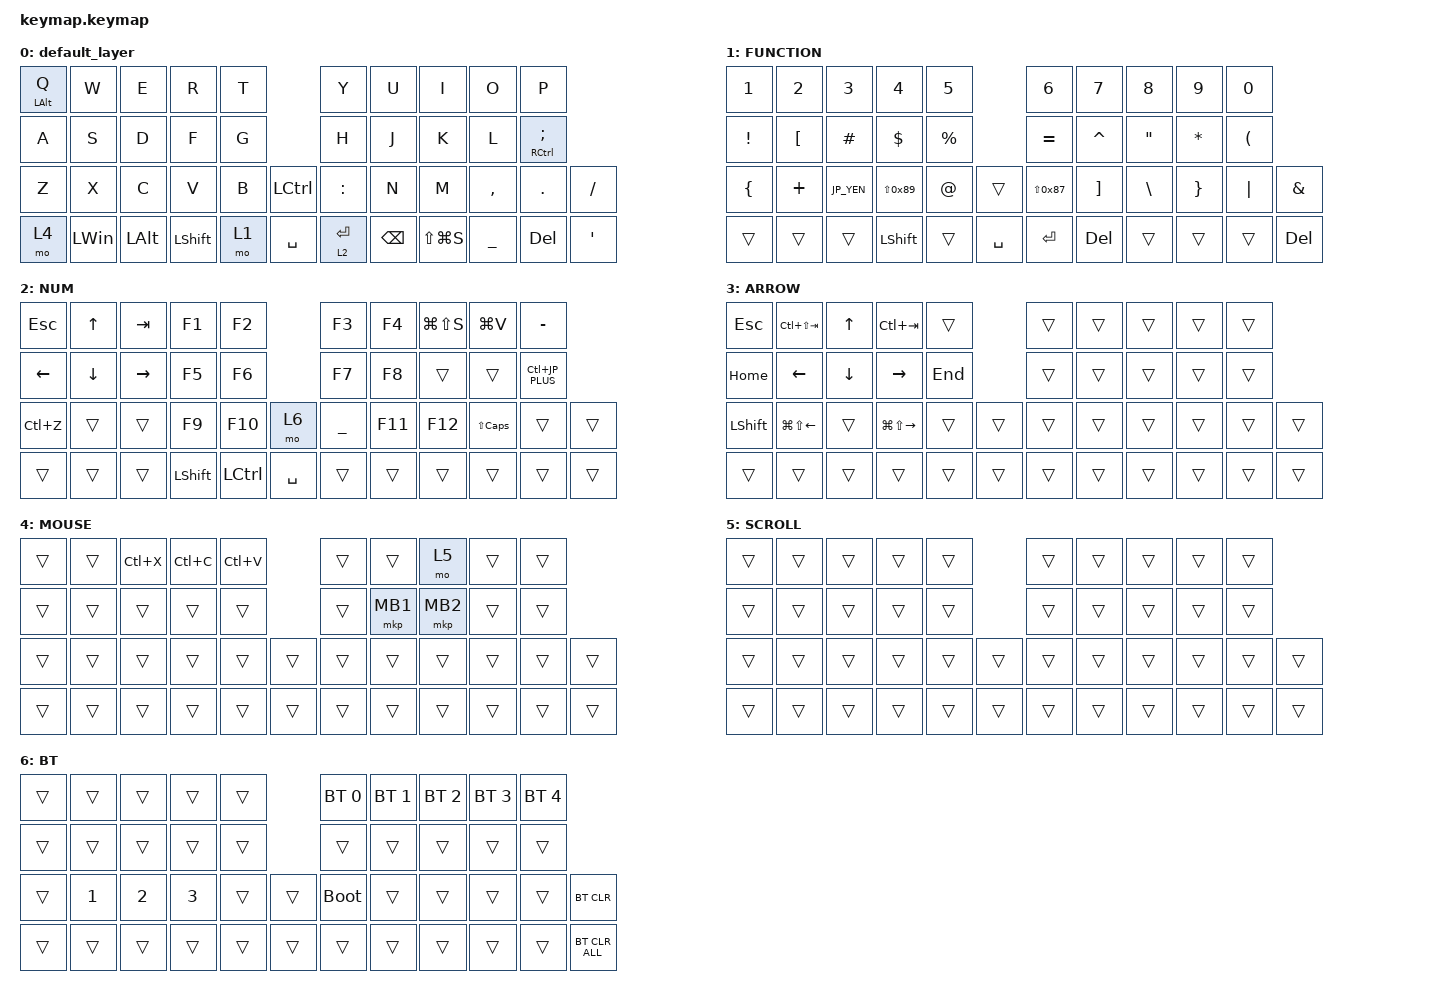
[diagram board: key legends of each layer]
#include <behaviors.dtsi>
#include <dt-bindings/zmk/bt.h>
#include <dt-bindings/zmk/keys.h>
#include <dt-bindings/zmk/pointing.h>

// 日本語キーボード用変換定義
#define JP_DQUOTE       AT
#define JP_AMPERSAND    CARET
#define JP_QUOTE        AMPERSAND
#define JP_EQUAL        UNDER
#define JP_CARET        EQUAL
#define JP_YEN          0x89
#define JP_PLUS         COLON
#define JP_TILDE        PLUS
#define JP_PIPE         LS(0x89)
#define JP_AT           LEFT_BRACKET
#define JP_COLON        SINGLE_QUOTE
#define JP_ASTERISK     DOUBLE_QUOTES
#define JP_BACKQUOTE    LEFT_BRACE
#define JP_UNDERSCORE   LS(0x87)
#define JP_LBRACKET     RIGHT_BRACKET
#define JP_RBRACKET     BACKSLASH
#define JP_LPAREN       ASTERISK
#define JP_RPAREN       LEFT_PARENTHESIS
#define JP_LBRACE       RIGHT_BRACE
#define JP_RBRACE       PIPE
#define JP_KANA         LANGUAGE_1
#define JP_EISU         LANGUAGE_2
#define JP_HANZEN       GRAVE

&mt {
    flavor = "balanced";
    quick-tap-ms = <150>;
    tapping-term-ms = <150>;
};

&lt {
    flavor = "balanced";
    quick-tap-ms = <150>;
    tapping-term-ms = <150>;
};

/ {
    macros {
        to_layer_0: to_layer_0 {
            compatible = "zmk,behavior-macro-one-param";
            #binding-cells = <1>;
            bindings = <&to 0 &macro_param_1to1 &kp MACRO_PLACEHOLDER>;
            label = "TO_LAYER_0";
        };
    };

    keymap {
        compatible = "zmk,keymap";

        // S size (XS): 10 + 10 + 12 + 12 = 44 keys per layer
        // Row 1 (10): 5L | 5R
        // Row 2 (10): 5L | 5R
        // Row 3 (12): 5L [LT] | [RT] 5R
        // Row 4 (12): 5L [LT] | [RT] 5R

        default_layer {
            bindings = <
&mt LEFT_ALT Q  &kp W         &kp E         &kp R           &kp T                              &kp Y          &kp U          &kp I            &kp O         &kp P
&kp A           &kp S         &kp D         &kp F           &kp G                              &kp H          &kp J          &kp K            &kp L         &mt RCTRL SEMICOLON
&kp Z           &kp X         &kp C         &kp V           &kp B           &kp LCTRL          &kp JP_PLUS    &kp N          &kp M            &kp COMMA     &kp DOT       &kp SLASH
&mo 4           &kp LEFT_WIN  &kp LEFT_ALT  &kp LEFT_SHIFT  &mo 1           &kp SPACE          &lt 2 ENTER    &kp BACKSPACE  &kp LS(LG(S))    &kp JP_EQUAL  &kp DELETE    &kp JP_COLON
            >;
        };

        FUNCTION {
            bindings = <
&kp NUMBER_1     &kp NUMBER_2  &kp NUMBER_3  &kp NUMBER_4   &kp N5                                 &kp NUMBER_6       &kp N7           &kp N8          &kp N9         &kp N0
&kp EXCLAMATION  &kp JP_AT     &kp HASH      &kp DOLLAR     &kp PERCENT                            &kp JP_CARET       &kp JP_AMPERSAND &kp JP_ASTERISK &kp JP_LPAREN  &kp JP_RPAREN
&kp JP_BACKQUOTE &kp JP_TILDE  &kp JP_YEN    &kp JP_PIPE    &kp JP_DQUOTE   &trans                 &kp JP_UNDERSCORE  &kp JP_LBRACKET  &kp JP_RBRACKET &kp JP_LBRACE  &kp JP_RBRACE  &kp JP_QUOTE
&trans           &trans        &trans        &kp LEFT_SHIFT &trans          &kp SPACE              &kp ENTER          &kp DELETE       &trans          &trans         &trans         &kp DELETE
            >;
        };

        NUM {
            bindings = <
&kp ESCAPE      &kp UP_ARROW    &kp TAB           &kp F1          &kp F2                               &kp F3   &kp F4   &kp LG(LS(S))     &kp LG(V)         &kp MINUS
&kp LEFT_ARROW  &kp DOWN_ARROW  &kp RIGHT_ARROW   &kp F5          &kp F6                               &kp F7   &kp F8   &trans            &trans            &kp LC(JP_PLUS)
&kp LC(Z)       &trans          &trans            &kp F9          &kp F10         &mo 6                &kp JP_EQUAL  &kp F11  &kp F12      &kp LS(CAPSLOCK)  &trans  &trans
&trans          &trans          &trans            &kp LEFT_SHIFT  &kp LCTRL       &kp SPACE            &trans   &trans   &trans            &trans            &trans  &trans
            >;
        };

        ARROW {
            bindings = <
&kp ESCAPE      &kp LC(LS(TAB))         &kp UP_ARROW    &kp LC(TAB)              &trans                         &trans  &trans  &trans  &trans  &trans
&kp HOME        &kp LEFT_ARROW          &kp DOWN_ARROW  &kp RIGHT_ARROW          &kp END                        &trans  &trans  &trans  &trans  &trans
&kp LEFT_SHIFT  &kp LG(LS(LEFT_ARROW))  &trans          &kp LG(LS(RIGHT_ARROW))  &trans          &trans         &trans  &trans  &trans  &trans  &trans  &trans
&trans          &trans                  &trans          &trans                   &trans          &trans         &trans  &trans  &trans  &trans  &trans  &trans
            >;
        };

        MOUSE {
            bindings = <
&trans  &trans  &kp LC(X)  &kp LC(C)  &kp LC(V)                    &trans  &trans    &mo 5     &trans  &trans
&trans  &trans  &trans     &trans     &trans                        &trans  &mkp MB1  &mkp MB2  &trans  &trans
&trans  &trans  &trans     &trans     &trans      &trans            &trans  &trans    &trans    &trans  &trans  &trans
&trans  &trans  &trans     &trans     &trans      &trans            &trans  &trans    &trans    &trans  &trans  &trans
            >;
        };

        SCROLL {
            bindings = <
&trans  &trans  &trans  &trans  &trans                 &trans  &trans  &trans  &trans  &trans
&trans  &trans  &trans  &trans  &trans                 &trans  &trans  &trans  &trans  &trans
&trans  &trans  &trans  &trans  &trans  &trans         &trans  &trans  &trans  &trans  &trans  &trans
&trans  &trans  &trans  &trans  &trans  &trans         &trans  &trans  &trans  &trans  &trans  &trans
            >;
        };

        BT {
            bindings = <
&trans  &trans        &trans        &trans        &trans                        &bt BT_SEL 0  &bt BT_SEL 1  &bt BT_SEL 2  &bt BT_SEL 3  &bt BT_SEL 4
&trans  &trans        &trans        &trans        &trans                        &trans        &trans        &trans        &trans        &trans
&trans  &kp NUMBER_1  &kp NUMBER_2  &kp NUMBER_3  &trans          &trans        &bootloader   &trans        &trans        &trans        &trans        &bt BT_CLR
&trans  &trans        &trans        &trans        &trans          &trans        &trans        &trans        &trans        &trans        &trans        &bt BT_CLR_ALL
            >;
        };
    };
};
